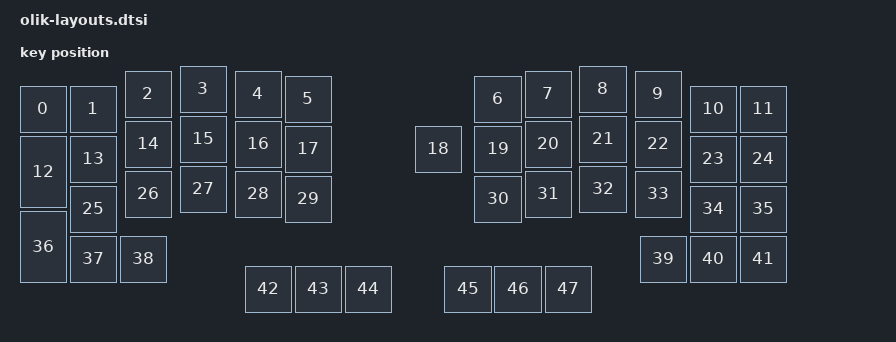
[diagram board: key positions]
#include <physical_layouts.dtsi>

/ {
    physical_layout_olik: physical_layout_olik {
        compatible = "zmk,physical-layout";
        display-name = "olik";
        keys  //                     w   h    x    y     rot    rx    ry
            = <&key_physical_attrs 100 100    0   40       0     0     0>
            , <&key_physical_attrs 100 100  100   40       0     0     0>
            , <&key_physical_attrs 100 100  210   10       0     0     0>
            , <&key_physical_attrs 100 100  320    0       0     0     0>
            , <&key_physical_attrs 100 100  430   10       0     0     0>
            , <&key_physical_attrs 100 100  530   20       0     0     0>
            , <&key_physical_attrs 100 100  910   20       0     0     0>
            , <&key_physical_attrs 100 100 1010   10       0     0     0>
            , <&key_physical_attrs 100 100 1120    0       0     0     0>
            , <&key_physical_attrs 100 100 1230   10       0     0     0>
            , <&key_physical_attrs 100 100 1340   40       0     0     0>
            , <&key_physical_attrs 100 100 1440   40       0     0     0>
            , <&key_physical_attrs 100 150    0  140       0     0     0>
            , <&key_physical_attrs 100 100  100  140       0     0     0>
            , <&key_physical_attrs 100 100  210  110       0     0     0>
            , <&key_physical_attrs 100 100  320  100       0     0     0>
            , <&key_physical_attrs 100 100  430  110       0     0     0>
            , <&key_physical_attrs 100 100  530  120       0     0     0>
            , <&key_physical_attrs 100 100  790  120       0     0     0>
            , <&key_physical_attrs 100 100  910  120       0     0     0>
            , <&key_physical_attrs 100 100 1010  110       0     0     0>
            , <&key_physical_attrs 100 100 1120  100       0     0     0>
            , <&key_physical_attrs 100 100 1230  110       0     0     0>
            , <&key_physical_attrs 100 100 1340  140       0     0     0>
            , <&key_physical_attrs 100 100 1440  140       0     0     0>
            , <&key_physical_attrs 100 100  100  240       0     0     0>
            , <&key_physical_attrs 100 100  210  210       0     0     0>
            , <&key_physical_attrs 100 100  320  200       0     0     0>
            , <&key_physical_attrs 100 100  430  210       0     0     0>
            , <&key_physical_attrs 100 100  530  220       0     0     0>
            , <&key_physical_attrs 100 100  910  220       0     0     0>
            , <&key_physical_attrs 100 100 1010  210       0     0     0>
            , <&key_physical_attrs 100 100 1120  200       0     0     0>
            , <&key_physical_attrs 100 100 1230  210       0     0     0>
            , <&key_physical_attrs 100 100 1340  240       0     0     0>
            , <&key_physical_attrs 100 100 1440  240       0     0     0>
            , <&key_physical_attrs 100 150    0  290       0     0     0>
            , <&key_physical_attrs 100 100  100  340       0     0     0>
            , <&key_physical_attrs 100 100  200  340       0     0     0>
            , <&key_physical_attrs 100 100 1240  340       0     0     0>
            , <&key_physical_attrs 100 100 1340  340       0     0     0>
            , <&key_physical_attrs 100 100 1440  340       0     0     0>
            , <&key_physical_attrs 100 100  450  400       0     0     0>
            , <&key_physical_attrs 100 100  550  400       0     0     0>
            , <&key_physical_attrs 100 100  650  400       0     0     0>
            , <&key_physical_attrs 100 100  850  400       0     0     0>
            , <&key_physical_attrs 100 100  950  400       0     0     0>
            , <&key_physical_attrs 100 100 1050  400       0     0     0>
            ;
    };
};
